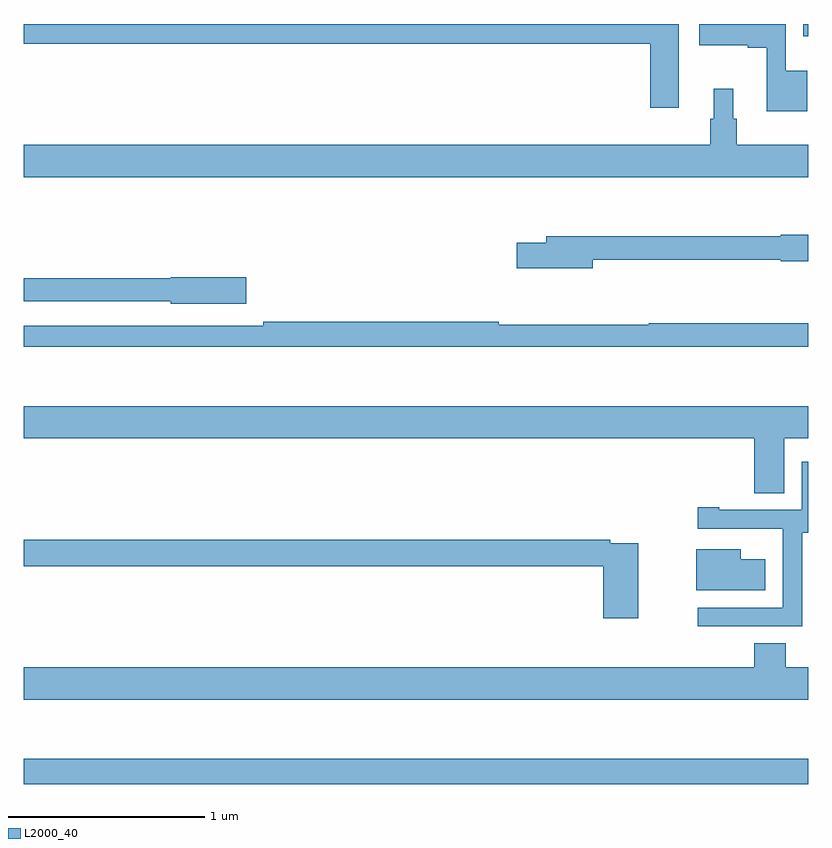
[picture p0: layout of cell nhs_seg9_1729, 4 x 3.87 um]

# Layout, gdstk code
import gdstk
lib = gdstk.Library(unit=1e-6, precision=1e-09)
def R(c, l, rs):  # rectangles x0, y0, x1, y1
    for r in rs: c.add(gdstk.rectangle(r[:2], r[2:], *l))
def P(c, l, *ps):  # polygons
    for p in ps: c.add(gdstk.Polygon(p, *l))
L2000_40 = (2000, 40)

nhs_seg9_1729 = lib.new_cell('nhs_seg9_1729')
R(nhs_seg9_1729, L2000_40, [(207,1226.626,211,1226.755), (210.975,1230.438,211,1230.5)])
P(nhs_seg9_1729, L2000_40, [(210.34,1230.5),(207,1230.5),(207,1230.4),(210.194,1230.4),(210.194,1230.072),(210.34,1230.072)],
  [(210.994,1230.262),(210.885,1230.262),(210.885,1230.5),(210.444,1230.5),(210.444,1230.392),(210.692,1230.392),(210.692,1230.38),(210.788,1230.38),(210.788,1230.056),(210.994,1230.056)],
  [(211,1229.884),(210.635,1229.884),(210.635,1230.018),(210.616,1230.018),(210.616,1230.169),(210.518,1230.169),(210.518,1230.018),(210.499,1230.018),(210.499,1229.884),(207,1229.884),(207,1229.72),(211,1229.72)],
  [(209.902,1229.298),(210.858,1229.298),(210.858,1229.29),(211,1229.29),(211,1229.427),(210.858,1229.427),(210.858,1229.419),(209.663,1229.419),(209.663,1229.385),(209.514,1229.385),(209.514,1229.255),(209.902,1229.255)],
  [(208.135,1229.21),(207.75,1229.21),(207.75,1229.204),(207,1229.204),(207,1229.088),(207.75,1229.088),(207.75,1229.075),(208.135,1229.075)],
  [(211,1228.975),(210.187,1228.975),(210.187,1228.967),(209.422,1228.967),(209.422,1228.982),(208.222,1228.982),(208.222,1228.962),(207,1228.962),(207,1228.854),(211,1228.854)],
  [(210.877,1228.388),(211,1228.388),(211,1228.552),(207,1228.552),(207,1228.388),(210.725,1228.388),(210.725,1228.108),(210.877,1228.108)],
  [(210.969,1227.907),(211,1227.907),(211,1228.269),(210.966,1228.269),(210.966,1228.023),(210.547,1228.023),(210.547,1228.036),(210.435,1228.036),(210.435,1227.927),(210.869,1227.927),(210.869,1227.926),(210.87,1227.926),(210.87,1227.525),(210.435,1227.525),(210.435,1227.429),(210.969,1227.429)],
  [(210.132,1227.852),(209.99,1227.852),(209.99,1227.872),(207,1227.872),(207,1227.736),(209.954,1227.736),(209.954,1227.471),(210.132,1227.471)],
  [(210.781,1227.772),(210.655,1227.772),(210.655,1227.823),(210.428,1227.823),(210.428,1227.614),(210.781,1227.614)],
  [(211,1227.22),(210.885,1227.22),(210.885,1227.344),(210.725,1227.344),(210.725,1227.22),(207,1227.22),(207,1227.056),(211,1227.056)])

lib.write_gds('nhs_seg9_1729.gds')
